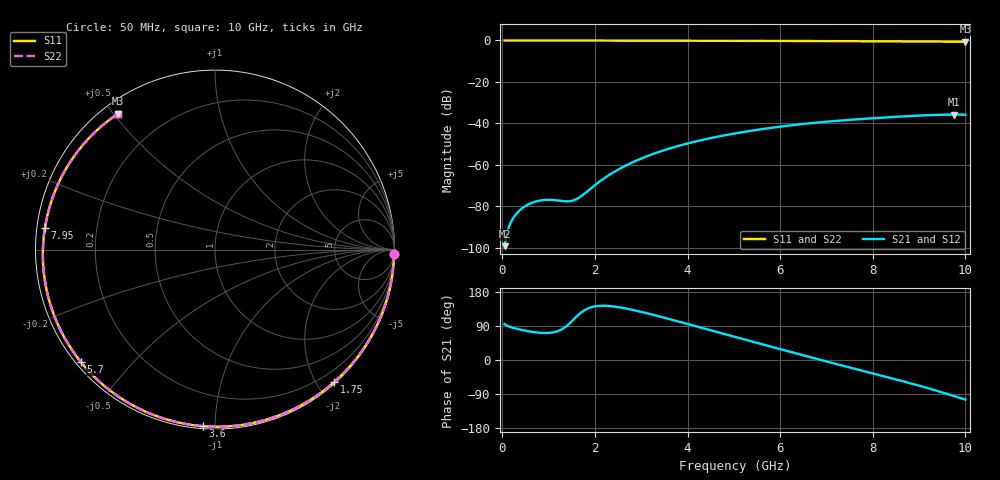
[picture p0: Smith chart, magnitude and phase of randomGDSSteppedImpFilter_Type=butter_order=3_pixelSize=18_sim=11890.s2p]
! freq	dB(S11)	phase(S11)	dB(S12)	phase(S12)
!  dB(S21)	phase(S21)	dB(S22)	phase(S22)
!S-par simulation data
#  GHz  S  DB  R 50
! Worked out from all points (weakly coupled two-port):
!   200 points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, 50 MHz to 10 GHz, reference 50 ohm
!   highest |S21| = -35.81 dB at 9.75 GHz (marker M1); lowest = -99.4 dB at 50 MHz (marker M2)
!   lowest |S11| = -0.6 dB at 10 GHz (marker M3), VSWR 27.62, Z = 2.29 + j25.7 ohm
!   |S11| at or under -10 dB: nowhere
!   |S22| runs from -0.6 to 0.0 dB; largest |S21 - S12| = 0
!   S11 on the Smith chart (normalised r, x): 50 MHz: 5, -84; 1.75 GHz: 0.02, -2.24; 3.6 GHz: 0.01, -0.93; 5.7 GHz: 0.01, -0.36; 7.95 GHz: 0.02, +0.06; 10 GHz: 0.05, +0.51
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0.05  -0.01 -1.4  -99.35 94.8  -99.35 94.8  -0.01 -1.4
0.5  -0.02 -14.0  -79.95 77.4  -79.95 77.4  -0.02 -14.0
0.7  -0.03 -19.6  -77.95 73.3  -77.95 73.3  -0.03 -19.6
0.9  -0.03 -25.1  -77.07 71.3  -77.07 71.3  -0.03 -25.1
1.45  -0.05 -40.1  -77.67 96.1  -77.67 96.1  -0.05 -40.1
1.6  -0.06 -44.1  -76.68 114.1  -76.68 114.1  -0.06 -44.1
1.75  -0.06 -48.1  -74.45 129.4  -74.45 129.4  -0.06 -48.1
2.15  -0.07 -58.5  -67.36 143.2  -67.36 143.2  -0.07 -58.5
2.5  -0.08 -67.4  -62.40 139.6  -62.40 139.6  -0.08 -67.4
2.9  -0.10 -77.3  -57.97 129.9  -57.97 129.9  -0.10 -77.3
3.4  -0.11 -89.3  -53.69 114.7  -53.69 114.7  -0.11 -89.3
3.6  -0.12 -94.0  -52.26 108.3  -52.26 108.3  -0.12 -94.0
4.3  -0.15 -109.9  -48.14 85.0  -48.14 85.0  -0.15 -109.9
5.05  -0.18 -126.3  -44.81 60.0  -44.81 60.0  -0.18 -126.3
5.7  -0.22 -140.1  -42.53 38.6  -42.53 38.6  -0.22 -140.0
6.7  -0.29 -160.9  -39.88 5.8  -39.88 5.8  -0.29 -160.8
7.35  -0.34 -174.4  -38.60 -15.0  -38.60 -15.0  -0.34 -174.4
7.95  -0.40 172.8  -37.65 -33.9  -37.65 -33.9  -0.40 172.9
8.35  -0.44 164.1  -37.08 -46.4  -37.08 -46.4  -0.44 164.2
9.05  -0.51 148.4  -36.23 -69.5  -36.23 -69.5  -0.51 148.5
9.75  -0.60 131.7  -35.81 -94.9  -35.81 -94.9  -0.60 131.9
10  -0.63 125.6  -35.87 -104.4  -35.87 -104.4  -0.63 125.7
